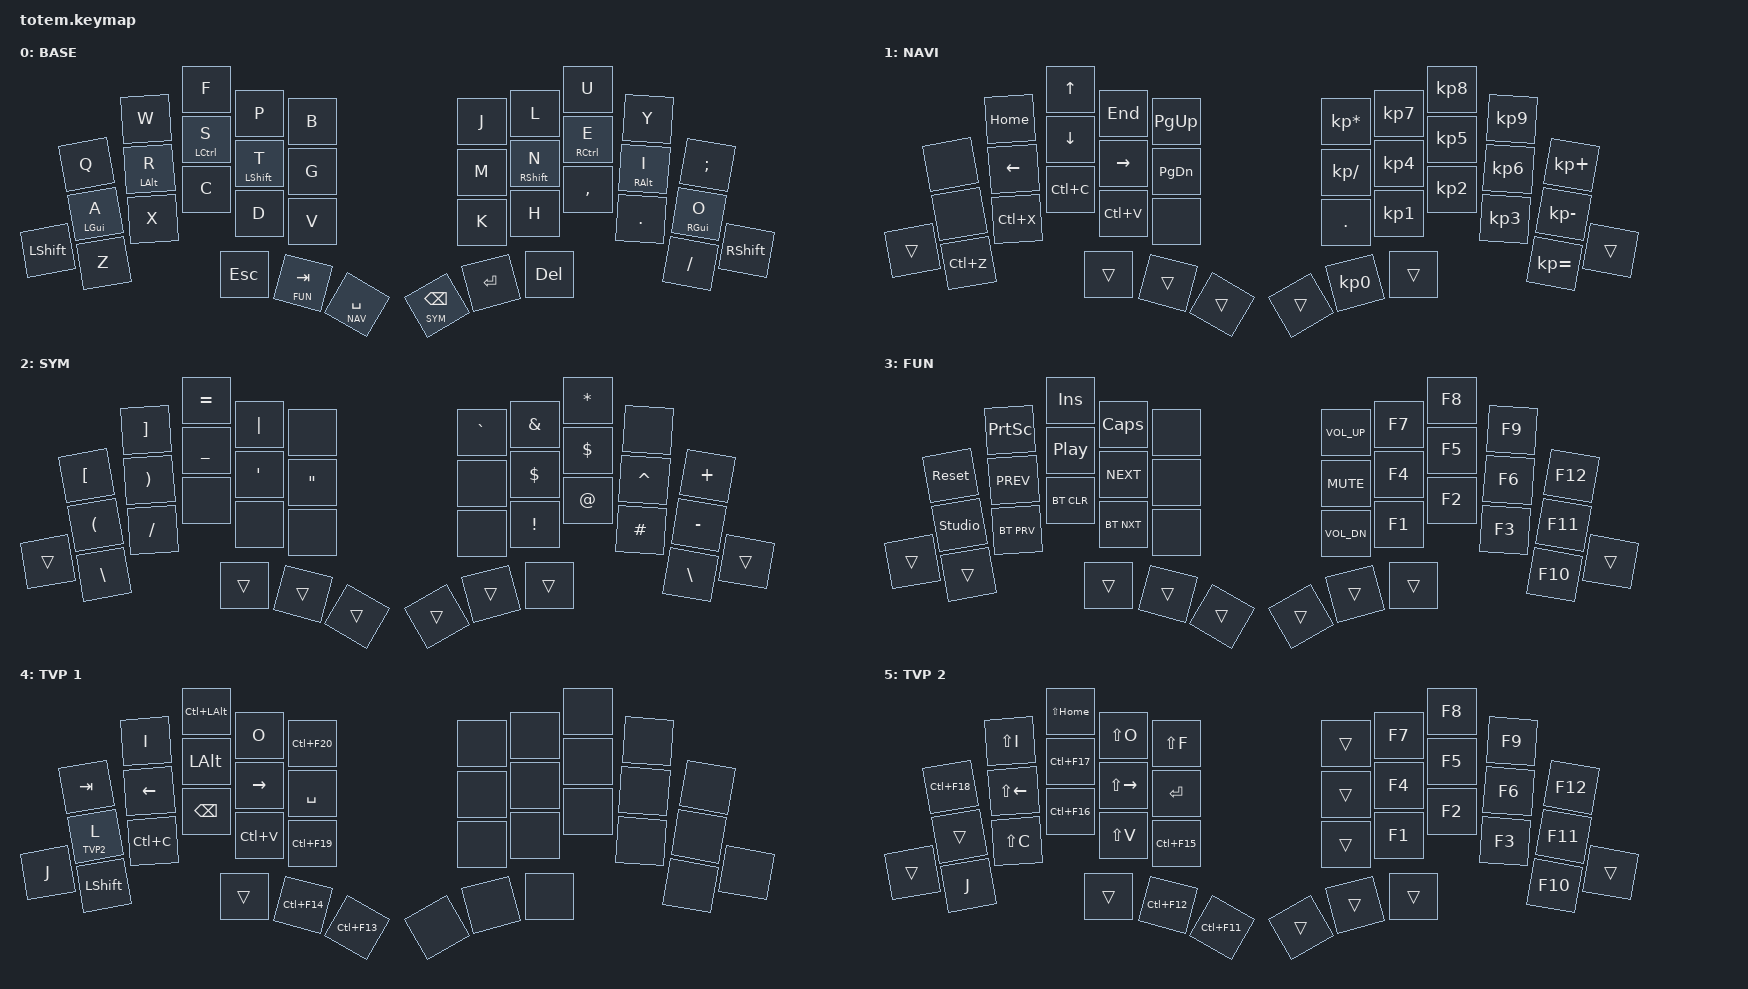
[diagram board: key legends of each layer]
//
//                                                        ▀▀▀▀▀     ▀▀▀▀▀          ▀▀█▀▀
//                                                        ▄▀▀▀▄  ▄  ▄▀▀▀▄  ▄  ▄▀▀▀▄  █  ▄▀▀▀▄
//                                                        █   █  █  █   █  █  █   █  █  █   █
//                                                         ▀▀▀   █   ▀▀▀   █   ▀▀▀   ▀   ▀▀▀
//                                                               █      ▄▄▄█▄▄▄    █   █  
//                                                               ▀      █  █  █     █▄█
//                                                             ▀▀▀▀▀    █  █  █      ▀
//                                                                      ▀  ▀  ▀
//
// ▄▄▄▄▄▄▄▄▄▄▄▄▄▄▄▄▄▄▄▄▄▄▄▄▄▄▄▄▄▄▄▄▄▄▄▄▄▄▄▄▄▄▄▄▄▄▄▄▄▄▄▄▄▄▄▄▄▄▄▄▄▄▄▄▄▄▄▄▄▄▄▄▄▄▄▄▄▄▄▄▄▄▄▄▄▄▄▄▄▄▄▄▄▄▄▄▄▄▄▄▄▄▄▄▄▄▄▄▄▄▄▄▄▄▄▄▄▄▄▄▄▄▄▄▄▄▄▄▄▄▄▄▄▄▄▄▄▄▄▄▄▄▄▄▄▄▄▄▄
       

#include <behaviors.dtsi>
#include <dt-bindings/zmk/keys.h>
#include <dt-bindings/zmk/bt.h>
#include <dt-bindings/zmk/outputs.h>

#define BASE 0
#define NAV  1
#define SYM  2
#define FUN  3
#define TVP1 4
#define TVP2 5

&mt {
  quick-tap-ms = <100>;
  global-quick-tap;
  flavor = "tap-preferred";
  tapping-term-ms = <170>;
};

/ {
    behaviors {
        hml: home_row_mod_left {
            compatible = "zmk,behavior-hold-tap";
            #binding-cells = <2>;
            flavor = "balanced";
            require-prior-idle-ms = <150>;
            tapping-term-ms = <280>;
            quick-tap-ms = <175>;
            bindings = <&kp>, <&kp>;
            hold-trigger-key-positions = <5 6 7 8 9 15 16 17 18 19 26 27 28 29 30 31>; // List of keys on the right side of the keyboard
            hold-trigger-on-release;
        };
        hmr: home_row_mod_right {
            compatible = "zmk,behavior-hold-tap";
            #binding-cells = <2>;
            flavor = "balanced";
            require-prior-idle-ms = <150>;
            tapping-term-ms = <280>;
            quick-tap-ms = <175>;
            bindings = <&kp>, <&kp>;
            hold-trigger-key-positions = <0 1 2 3 4 10 11 12 13 14 20 21 22 23 24 25>; // List of keys on the left side of the keyboard
            hold-trigger-on-release;
        };
    };
};

/ {
     combos {
            compatible = "zmk,combos";
            combo_esc {
                timeout-ms = <50>;
                key-positions = <0 1>;
                bindings = <&kp ESC>;
            };
            combo_tvp {
                timeout-ms = <100>;
                key-positions = <11 12 13>;
                bindings = <&tog TVP1>;
            };
    };

    macros {
        gif: gif {
            label = "giphy";
            compatible = "zmk,behavior-macro";
            #binding-cells = <0>;
            bindings
                = <&macro_press &kp LSHFT>
                , <&macro_tap &kp N2>
                , <&macro_release &kp LSHFT>
                , <&macro_tap &kp G &kp I &kp F>
                ;
        };
    };

        keymap {
                compatible = "zmk,keymap";
// ▄▄▄▄▄▄▄▄▄▄▄▄▄▄▄▄▄▄▄▄▄▄▄▄▄▄▄▄▄▄▄▄▄▄▄▄▄▄▄▄▄▄▄▄▄▄▄▄▄▄▄▄▄▄▄▄▄▄▄▄▄▄▄▄▄▄▄▄▄▄▄▄▄▄▄▄▄▄▄▄▄▄▄▄▄▄▄▄▄▄▄▄▄▄▄▄▄▄▄▄▄▄▄▄▄▄▄▄▄▄▄▄▄▄▄▄▄▄▄▄▄▄▄▄▄▄▄▄▄▄▄▄▄▄▄▄▄▄▄▄▄▄▄▄▄▄▄▄▄

                base_layer {
// ┏━━━━━━━━━━━━━━━━━━━━━━━━━━━━━━━━━━━━━━━┓
label= "BASE"                              ;
// ┗━━━━━━━━━━━━━━━━━━━━━━━━━━━━━━━━━━━━━━━┛
//             ┏━━━━━━━━━━━┳━━━━━━━━━━━┳━━━━━━━━━━━┳━━━━━━━━━━━┳━━━━━━━━━━━┓   ┏━━━━━━━━━━━┳━━━━━━━━━━━┳━━━━━━━━━━━┳━━━━━━━━━━━┳━━━━━━━━━━━┓
//             ┃     Q     ┃     W     ┃     F     ┃     P     ┃     B     ┃   ┃     J     ┃     L     ┃     U     ┃     Y     ┃     ;     ┃
//             ┣━━━━━━━━━━━╋━━━━━━━━━━━╋━━━━━━━━━━━╋━━━━━━━━━━━╋━━━━━━━━━━━┫   ┣━━━━━━━━━━━╋━━━━━━━━━━━╋━━━━━━━━━━━╋━━━━━━━━━━━╋━━━━━━━━━━━┫
//             ┃     A     ┃     R     ┃     S     ┃     T     ┃     G     ┃   ┃     H     ┃     N     ┃     E     ┃     I     ┃     O     ┃
// ┏━━━━━━━━━━━╋━━━━━━━━━━━╋━━━━━━━━━━━╋━━━━━━━━━━━╋━━━━━━━━━━━╋━━━━━━━━━━━┫   ┣━━━━━━━━━━━╋━━━━━━━━━━━╋━━━━━━━━━━━╋━━━━━━━━━━━╋━━━━━━━━━━━╋━━━━━━━━━━━┓
// ┃   SHIFT   ┃     Z     ┃     X     ┃     C     ┃     D     ┃     V     ┃   ┃     K     ┃     M     ┃     ,     ┃     .     ┃     /     ┃   SHIFT   ┃
// ┗━━━━━━━━━━━┻━━━━━━━━━━━┻━━━━━━━━━━━╋━━━━━━━━━━━╋━━━━━━━━━━━╋━━━━━━━━━━━┫   ┣━━━━━━━━━━━╋━━━━━━━━━━━╋━━━━━━━━━━━╋━━━━━━━━━━━┻━━━━━━━━━━━┻━━━━━━━━━━━┛
//                                     ┃    ESC    ┃    TAB    ┃    SPC    ┃   ┃    BSPC   ┃   ENTER   ┃    DEL    ┃
//                                     ┗━━━━━━━━━━━┻━━━━━━━━━━━┻━━━━━━━━━━━┛   ┗━━━━━━━━━━━┻━━━━━━━━━━━┻━━━━━━━━━━━┛
 bindings = <
// ╷           ╷           ╷           ╷           ╷           ╷           ╷   ╷           ╷           ╷           ╷           ╷           ╷           ╷

                &kp Q       &kp W       &kp F       &kp P       &kp B           &kp J       &kp L       &kp U       &kp Y       &kp SEMI
               &hml LGUI A &hml LALT R &hml LCTRL S &hml LSHFT T &kp G          &kp M       &hmr RSHFT N &hmr RCTRL E &hmr RALT I  &hmr RGUI O
    &kp LSHIFT  &kp Z       &kp X       &kp C       &kp D       &kp V           &kp K       &kp H       &kp COMMA   &kp DOT     &kp FSLH    &kp RSHIFT
                                        &kp ESC    &lt FUN TAB  &lt NAV SPACE   &lt SYM BSPC  &kp RET     &kp DEL
                        >;
                };

// ▄▄▄▄▄▄▄▄▄▄▄▄▄▄▄▄▄▄▄▄▄▄▄▄▄▄▄▄▄▄▄▄▄▄▄▄▄▄▄▄▄▄▄▄▄▄▄▄▄▄▄▄▄▄▄▄▄▄▄▄▄▄▄▄▄▄▄▄▄▄▄▄▄▄▄▄▄▄▄▄▄▄▄▄▄▄▄▄▄▄▄▄▄▄▄▄▄▄▄▄▄▄▄▄▄▄▄▄▄▄▄▄▄▄▄▄▄▄▄▄▄▄▄▄▄▄▄▄▄▄▄▄▄▄▄▄▄▄▄▄▄▄▄▄▄▄▄▄▄


                nav_layer {
// ┏━━━━━━━━━━━━━━━━━━━━━━━━━━━━━━━━━━━━━━━┓
label= "NAVI"                              ;
// ┗━━━━━━━━━━━━━━━━━━━━━━━━━━━━━━━━━━━━━━━┛
//             ┏━━━━━━━━━━━┳━━━━━━━━━━━┳━━━━━━━━━━━┳━━━━━━━━━━━┳━━━━━━━━━━━┓   ┏━━━━━━━━━━━┳━━━━━━━━━━━┳━━━━━━━━━━━┳━━━━━━━━━━━┳━━━━━━━━━━━┓
//             ┃           ┃   HOME    ┃     UP    ┃    END    ┃   P UP    ┃   ┃     *     ┃     7     ┃     8     ┃     9     ┃     +     ┃
//             ┣━━━━━━━━━━━╋━━━━━━━━━━━╋━━━━━━━━━━━╋━━━━━━━━━━━╋━━━━━━━━━━━┫   ┣━━━━━━━━━━━╋━━━━━━━━━━━╋━━━━━━━━━━━╋━━━━━━━━━━━╋━━━━━━━━━━━┫
//             ┃           ┃   LEFT    ┃    DOWN   ┃   RIGHT   ┃  P DOWN   ┃   ┃     /     ┃     4     ┃     5     ┃     6     ┃     -     ┃
// ┏━━━━━━━━━━━╋━━━━━━━━━━━╋━━━━━━━━━━━╋━━━━━━━━━━━╋━━━━━━━━━━━╋━━━━━━━━━━━┫   ┣━━━━━━━━━━━╋━━━━━━━━━━━╋━━━━━━━━━━━╋━━━━━━━━━━━╋━━━━━━━━━━━╋━━━━━━━━━━━┓
// ┃   SHIFT   ┃    UNDO   ┃    CUT    ┃    COPY   ┃   PASTE   ┃           ┃   ┃     .     ┃     1     ┃     2     ┃     3     ┃     =     ┃   SHIFT   ┃
// ┗━━━━━━━━━━━┻━━━━━━━━━━━┻━━━━━━━━━━━╋━━━━━━━━━━━╋━━━━━━━━━━━╋━━━━━━━━━━━┫   ┣━━━━━━━━━━━╋━━━━━━━━━━━╋━━━━━━━━━━━╋━━━━━━━━━━━┻━━━━━━━━━━━┻━━━━━━━━━━━┛
//                                     ┃    ESC    ┃    TAB    ┃    SPC    ┃   ┃   BSPC    ┃     0     ┃    DEL    ┃
//                                     ┗━━━━━━━━━━━┻━━━━━━━━━━━┻━━━━━━━━━━━┛   ┗━━━━━━━━━━━┻━━━━━━━━━━━┻━━━━━━━━━━━┛
 bindings = <
// ╷           ╷           ╷           ╷           ╷           ╷           ╷   ╷           ╷           ╷           ╷           ╷           ╷           ╷

                &none       &kp HOME    &kp UP      &kp END     &kp PG_UP   &kp KP_MULTIPLY &kp KP_N7   &kp KP_N8   &kp KP_N9   &kp KP_PLUS
                &none       &kp LEFT    &kp DOWN    &kp RIGHT   &kp PG_DN   &kp KP_DIVIDE   &kp KP_N4   &kp KP_N5   &kp KP_N6   &kp KP_MINUS
     &trans     &kp LC(Z)   &kp LC(X)   &kp LC(C)   &kp LC(V)   &none           &kp DOT     &kp KP_N1   &kp KP_N2   &kp KP_N3   &kp KP_EQUAL  &trans      
                                        &trans      &trans      &trans          &trans      &kp KP_N0   &trans      
                        >;
                };

// ▄▄▄▄▄▄▄▄▄▄▄▄▄▄▄▄▄▄▄▄▄▄▄▄▄▄▄▄▄▄▄▄▄▄▄▄▄▄▄▄▄▄▄▄▄▄▄▄▄▄▄▄▄▄▄▄▄▄▄▄▄▄▄▄▄▄▄▄▄▄▄▄▄▄▄▄▄▄▄▄▄▄▄▄▄▄▄▄▄▄▄▄▄▄▄▄▄▄▄▄▄▄▄▄▄▄▄▄▄▄▄▄▄▄▄▄▄▄▄▄▄▄▄▄▄▄▄▄▄▄▄▄▄▄▄▄▄▄▄▄▄▄▄▄▄▄▄▄▄


                sym_layer {
// ┏━━━━━━━━━━━━━━━━━━━━━━━━━━━━━━━━━━━━━━━┓
label= "SYM"                               ;
// ┗━━━━━━━━━━━━━━━━━━━━━━━━━━━━━━━━━━━━━━━┛
//             ┏━━━━━━━━━━━┳━━━━━━━━━━━┳━━━━━━━━━━━┳━━━━━━━━━━━┳━━━━━━━━━━━┓   ┏━━━━━━━━━━━┳━━━━━━━━━━━┳━━━━━━━━━━━┳━━━━━━━━━━━┳━━━━━━━━━━━┓
//             ┃   [   {   ┃  ]    }   ┃   =   +   ┃    |      ┃           ┃   ┃   `   ~   ┃     &     ┃     *     ┃           ┃     +     ┃
//             ┣━━━━━━━━━━━╋━━━━━━━━━━━╋━━━━━━━━━━━╋━━━━━━━━━━━╋━━━━━━━━━━━┫   ┣━━━━━━━━━━━╋━━━━━━━━━━━╋━━━━━━━━━━━╋━━━━━━━━━━━╋━━━━━━━━━━━┫
//             ┃     (     ┃     )     ┃     _     ┃   '   "   ┃     "     ┃   ┃           ┃     $     ┃     %     ┃     ^     ┃   -   _   ┃
// ┏━━━━━━━━━━━╋━━━━━━━━━━━╋━━━━━━━━━━━╋━━━━━━━━━━━╋━━━━━━━━━━━╋━━━━━━━━━━━┫   ┣━━━━━━━━━━━╋━━━━━━━━━━━╋━━━━━━━━━━━╋━━━━━━━━━━━╋━━━━━━━━━━━╋━━━━━━━━━━━┓
// ┃   SHIFT   ┃   \   |   ┃  /    ?   ┃           ┃           ┃           ┃   ┃           ┃     !     ┃     @     ┃     #     ┃           ┃   SHIFT   ┃
// ┗━━━━━━━━━━━┻━━━━━━━━━━━┻━━━━━━━━━━━╋━━━━━━━━━━━╋━━━━━━━━━━━╋━━━━━━━━━━━┫   ┣━━━━━━━━━━━╋━━━━━━━━━━━╋━━━━━━━━━━━╋━━━━━━━━━━━┻━━━━━━━━━━━┻━━━━━━━━━━━┛
//                                     ┃    ESC    ┃    TAB    ┃    SPC    ┃   ┃    BSPC   ┃   ENTER   ┃    DEL    ┃
//                                     ┗━━━━━━━━━━━┻━━━━━━━━━━━┻━━━━━━━━━━━┛   ┗━━━━━━━━━━━┻━━━━━━━━━━━┻━━━━━━━━━━━┛
 bindings = <
// ╷           ╷           ╷           ╷           ╷           ╷           ╷   ╷           ╷           ╷           ╷           ╷           ╷           ╷

                &kp LBKT    &kp RBKT    &kp EQUAL   &kp PIPE    &none           &kp GRAVE   &kp AMPS    &kp STAR    &none       &kp PLUS       
                &kp LPAR    &kp RPAR    &kp UNDER   &kp SQT     &kp DQT         &none       &kp DLLR    &kp DLLR    &kp CARET   &kp MINUS 
    &trans      &kp BSLH    &kp FSLH    &none       &none       &none           &none       &kp EXCL    &kp AT      &kp POUND   &kp BSLH   &trans         
                                        &trans      &trans      &trans          &trans      &trans      &trans       
                        >;
                };

// ▄▄▄▄▄▄▄▄▄▄▄▄▄▄▄▄▄▄▄▄▄▄▄▄▄▄▄▄▄▄▄▄▄▄▄▄▄▄▄▄▄▄▄▄▄▄▄▄▄▄▄▄▄▄▄▄▄▄▄▄▄▄▄▄▄▄▄▄▄▄▄▄▄▄▄▄▄▄▄▄▄▄▄▄▄▄▄▄▄▄▄▄▄▄▄▄▄▄▄▄▄▄▄▄▄▄▄▄▄▄▄▄▄▄▄▄▄▄▄▄▄▄▄▄▄▄▄▄▄▄▄▄▄▄▄▄▄▄▄▄▄▄▄▄▄▄▄▄▄


                function_layer {
// ┏━━━━━━━━━━━━━━━━━━━━━━━━━━━━━━━━━━━━━━━┓
label= "FUN"                               ;
// ┗━━━━━━━━━━━━━━━━━━━━━━━━━━━━━━━━━━━━━━━┛
//             ┏━━━━━━━━━━━┳━━━━━━━━━━━┳━━━━━━━━━━━┳━━━━━━━━━━━┳━━━━━━━━━━━┓   ┏━━━━━━━━━━━┳━━━━━━━━━━━┳━━━━━━━━━━━┳━━━━━━━━━━━┳━━━━━━━━━━━┓
//             ┃   RESET   ┃ PRINT SCN ┃  INSERT   ┃ CAPSLOCK  ┃           ┃   ┃   VOL +   ┃    F7     ┃    F8     ┃    F9     ┃    F12    ┃
//             ┣━━━━━━━━━━━╋━━━━━━━━━━━╋━━━━━━━━━━━╋━━━━━━━━━━━╋━━━━━━━━━━━┫   ┣━━━━━━━━━━━╋━━━━━━━━━━━╋━━━━━━━━━━━╋━━━━━━━━━━━╋━━━━━━━━━━━┫
//             ┃  STUDIO   ┃  PREVIOUS ┃ PLAY/PAUSE┃    NEXT   ┃           ┃   ┃   MUTE    ┃    F4     ┃    F5     ┃    F6     ┃    F11    ┃
// ┏━━━━━━━━━━━╋━━━━━━━━━━━╋━━━━━━━━━━━╋━━━━━━━━━━━╋━━━━━━━━━━━╋━━━━━━━━━━━┫   ┣━━━━━━━━━━━╋━━━━━━━━━━━╋━━━━━━━━━━━╋━━━━━━━━━━━╋━━━━━━━━━━━╋━━━━━━━━━━━┓
// ┃   SHIFT   ┃           ┃ BT PREV   ┃  BT CLEAR ┃  BT NEXT  ┃           ┃   ┃   VOL -   ┃    F1     ┃    F2     ┃    F3     ┃    F10    ┃  SHIFT    ┃
// ┗━━━━━━━━━━━┻━━━━━━━━━━━┻━━━━━━━━━━━╋━━━━━━━━━━━╋━━━━━━━━━━━╋━━━━━━━━━━━┫   ┣━━━━━━━━━━━╋━━━━━━━━━━━╋━━━━━━━━━━━╋━━━━━━━━━━━┻━━━━━━━━━━━┻━━━━━━━━━━━┛
//                                     ┃           ┃           ┃           ┃   ┃           ┃           ┃           ┃
//                                     ┗━━━━━━━━━━━┻━━━━━━━━━━━┻━━━━━━━━━━━┛   ┗━━━━━━━━━━━┻━━━━━━━━━━━┻━━━━━━━━━━━┛
 bindings = <
// ╷           ╷           ╷           ╷           ╷           ╷           ╷   ╷           ╷           ╷           ╷           ╷           ╷           ╷

                &sys_reset  &kp PSCRN   &kp INS     &kp CAPS    &none         &kp C_VOL_UP  &kp F7      &kp F8      &kp F9      &kp F12
             &studio_unlock &kp C_PREV  &kp C_PP    &kp C_NEXT  &none         &kp C_MUTE    &kp F4      &kp F5      &kp F6      &kp F11  
    &trans      &trans      &bt BT_PRV  &bt BT_CLR  &bt BT_NXT  &none         &kp C_VOL_DN  &kp F1      &kp F2      &kp F3      &kp F10     &trans         
                                        &trans      &trans      &trans          &trans      &trans      &trans      
                        >;
                };

// ▄▄▄▄▄▄▄▄▄▄▄▄▄▄▄▄▄▄▄▄▄▄▄▄▄▄▄▄▄▄▄▄▄▄▄▄▄▄▄▄▄▄▄▄▄▄▄▄▄▄▄▄▄▄▄▄▄▄▄▄▄▄▄▄▄▄▄▄▄▄▄▄▄▄▄▄▄▄▄▄▄▄▄▄▄▄▄▄▄▄▄▄▄▄▄▄▄▄▄▄▄▄▄▄▄▄▄▄▄▄▄▄▄▄▄▄▄▄▄▄▄▄▄▄▄▄▄▄▄▄▄▄▄▄▄▄▄▄▄▄▄▄▄▄▄▄▄▄▄


                tvp1_layer {
// ┏━━━━━━━━━━━━━━━━━━━━━━━━━━━━━━━━━━━━━━━┓
label= "TVP 1"                             ;
// ┗━━━━━━━━━━━━━━━━━━━━━━━━━━━━━━━━━━━━━━━┛
//             ┏━━━━━━━━━━━┳━━━━━━━━━━━┳━━━━━━━━━━━┳━━━━━━━━━━━┳━━━━━━━━━━━┓   ┏━━━━━━━━━━━┳━━━━━━━━━━━┳━━━━━━━━━━━┳━━━━━━━━━━━┳━━━━━━━━━━━┓
//             ┃ NEXT FILE ┃ MARK IN   ┃ ROTATE    ┃ MARK OUT  ┃ SHOW SNAP ┃   ┃           ┃           ┃           ┃           ┃           ┃
//             ┣━━━━━━━━━━━╋━━━━━━━━━━━╋━━━━━━━━━━━╋━━━━━━━━━━━╋━━━━━━━━━━━┫   ┣━━━━━━━━━━━╋━━━━━━━━━━━╋━━━━━━━━━━━╋━━━━━━━━━━━╋━━━━━━━━━━━┫
//             ┃ TVP II    ┃ LEFT      ┃ PAN       ┃ RIGHT     ┃ PLAY/FLIP ┃   ┃           ┃           ┃           ┃           ┃           ┃
// ┏━━━━━━━━━━━╋━━━━━━━━━━━╋━━━━━━━━━━━╋━━━━━━━━━━━╋━━━━━━━━━━━╋━━━━━━━━━━━┫   ┣━━━━━━━━━━━╋━━━━━━━━━━━╋━━━━━━━━━━━╋━━━━━━━━━━━╋━━━━━━━━━━━╋━━━━━━━━━━━┓
// ┃ FULLSCR   ┃ SHIFT     ┃ COPY      ┃ DELETE    ┃ PASTE     ┃ IMG MARK  ┃   ┃           ┃           ┃           ┃           ┃           ┃           ┃
// ┗━━━━━━━━━━━┻━━━━━━━━━━━┻━━━━━━━━━━━╋━━━━━━━━━━━╋━━━━━━━━━━━╋━━━━━━━━━━━┫   ┣━━━━━━━━━━━╋━━━━━━━━━━━╋━━━━━━━━━━━╋━━━━━━━━━━━┻━━━━━━━━━━━┻━━━━━━━━━━━┛
//                                     ┃           ┃ UNDO/SAVE ┃  SEL/MOV  ┃   ┃           ┃           ┃           ┃
//                                     ┗━━━━━━━━━━━┻━━━━━━━━━━━┻━━━━━━━━━━━┛   ┗━━━━━━━━━━━┻━━━━━━━━━━━┻━━━━━━━━━━━┛
 bindings = <
// ╷           ╷           ╷           ╷           ╷           ╷           ╷   ╷           ╷           ╷           ╷           ╷           ╷           ╷

                &kp TAB     &kp I       &kp LC(LALT) &kp O      &kp LC(F20)     &none       &none       &none       &none       &none
                &lt TVP2 L  &kp LEFT    &kp LALT    &kp RIGHT   &kp SPACE       &none       &none       &none       &none       &none
    &kp J       &kp LSHFT   &kp LC(C)   &kp BSPC    &kp LC(V)   &kp LC(F19)     &none       &none       &none       &none       &none       &none        
                                        &trans      &kp LC(F14) &kp LC(F13)     &none       &none       &none    
                        >;
                };

// ▄▄▄▄▄▄▄▄▄▄▄▄▄▄▄▄▄▄▄▄▄▄▄▄▄▄▄▄▄▄▄▄▄▄▄▄▄▄▄▄▄▄▄▄▄▄▄▄▄▄▄▄▄▄▄▄▄▄▄▄▄▄▄▄▄▄▄▄▄▄▄▄▄▄▄▄▄▄▄▄▄▄▄▄▄▄▄▄▄▄▄▄▄▄▄▄▄▄▄▄▄▄▄▄▄▄▄▄▄▄▄▄▄▄▄▄▄▄▄▄▄▄▄▄▄▄▄▄▄▄▄▄▄▄▄▄▄▄▄▄▄▄▄▄▄▄▄▄▄


                tvp2_layer {
// ┏━━━━━━━━━━━━━━━━━━━━━━━━━━━━━━━━━━━━━━━┓
label= "TVP 2"                             ;
// ┗━━━━━━━━━━━━━━━━━━━━━━━━━━━━━━━━━━━━━━━┛
//             ┏━━━━━━━━━━━┳━━━━━━━━━━━┳━━━━━━━━━━━┳━━━━━━━━━━━┳━━━━━━━━━━━┓   ┏━━━━━━━━━━━┳━━━━━━━━━━━┳━━━━━━━━━━━┳━━━━━━━━━━━┳━━━━━━━━━━━┓
//             ┃ SOLO      ┃ TOGGLE IN ┃ RESET ROT ┃ TOGGLE OUT┃ TAKE SNAP ┃   ┃           ┃           ┃           ┃           ┃           ┃
//             ┣━━━━━━━━━━━╋━━━━━━━━━━━╋━━━━━━━━━━━╋━━━━━━━━━━━╋━━━━━━━━━━━┫   ┣━━━━━━━━━━━╋━━━━━━━━━━━╋━━━━━━━━━━━╋━━━━━━━━━━━╋━━━━━━━━━━━┫
//             ┃ ---       ┃ LAST KEY  ┃ NEW KEY   ┃ NEXT KEY  ┃ ENTER     ┃   ┃           ┃           ┃           ┃           ┃           ┃
// ┏━━━━━━━━━━━╋━━━━━━━━━━━╋━━━━━━━━━━━╋━━━━━━━━━━━╋━━━━━━━━━━━╋━━━━━━━━━━━┫   ┣━━━━━━━━━━━╋━━━━━━━━━━━╋━━━━━━━━━━━╋━━━━━━━━━━━╋━━━━━━━━━━━╋━━━━━━━━━━━┓
// ┃           ┃ FULLSCR   ┃ CPY2BRUSH ┃ DEL HEAD  ┃ PSTinPLACE┃ BOOK MARK ┃   ┃           ┃           ┃           ┃           ┃           ┃           ┃
// ┗━━━━━━━━━━━┻━━━━━━━━━━━┻━━━━━━━━━━━╋━━━━━━━━━━━╋━━━━━━━━━━━╋━━━━━━━━━━━┫   ┣━━━━━━━━━━━╋━━━━━━━━━━━╋━━━━━━━━━━━╋━━━━━━━━━━━┻━━━━━━━━━━━┻━━━━━━━━━━━┛
//                                     ┃           ┃ REDO/SAV1 ┃TRANS/WARP ┃   ┃           ┃           ┃           ┃
//                                     ┗━━━━━━━━━━━┻━━━━━━━━━━━┻━━━━━━━━━━━┛   ┗━━━━━━━━━━━┻━━━━━━━━━━━┻━━━━━━━━━━━┛
 bindings = <
// ╷           ╷           ╷           ╷           ╷           ╷           ╷   ╷           ╷           ╷           ╷           ╷           ╷           ╷

                &kp LC(F18) &kp LS(I)  &kp LS(HOME) &kp LS(O)   &kp LS(F)       &trans      &kp F7      &kp F8      &kp F9      &kp F12
                &trans      &kp LS(LEFT) &kp LC(F17) &kp LS(RIGHT) &kp RET      &trans      &kp F4      &kp F5      &kp F6      &kp F11  
    &trans      &kp J       &kp LS(C)   &kp LC(F16) &kp LS(V)   &kp LC(F15)     &trans      &kp F1      &kp F2      &kp F3      &kp F10     &trans         
                                        &trans      &kp LC(F12) &kp LC(F11)     &trans      &trans      &trans      
                        >;
                };
        };
};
